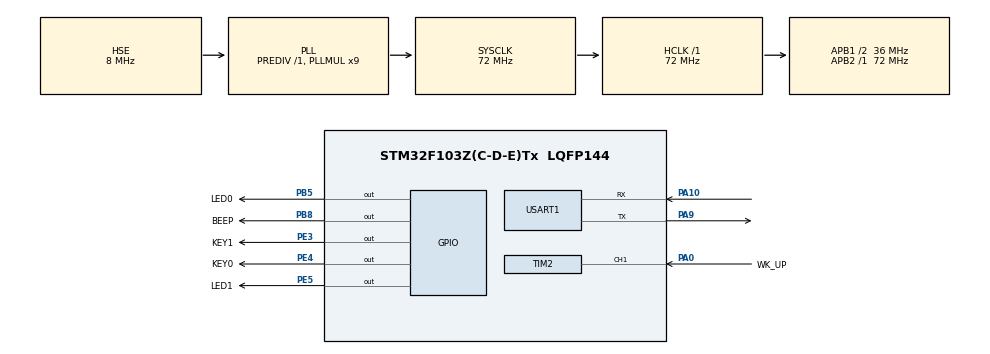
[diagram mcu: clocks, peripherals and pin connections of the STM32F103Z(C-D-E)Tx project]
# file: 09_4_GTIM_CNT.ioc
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Mcu.Family=STM32F1
Mcu.Name=STM32F103Z(C-D-E)Tx
Mcu.Package=LQFP144
NVIC.PriorityGroup=NVIC_PRIORITYGROUP_2
NVIC.TIM2_IRQn=true\:2\:1\:true\:false\:true\:true\:true\:true
NVIC.USART1_IRQn=true\:2\:2\:true\:false\:true\:true\:true\:true
OSC_IN.Mode=HSE-External-Oscillator
OSC_IN.Signal=RCC_OSC_IN
OSC_OUT.Mode=HSE-External-Oscillator
OSC_OUT.Signal=RCC_OSC_OUT
PA0-WKUP.GPIO_Label=WK_UP
PA0-WKUP.GPIO_PuPd=GPIO_PULLDOWN
PA0-WKUP.Signal=S_TIM2_CH1_ETR
PA10.Mode=Asynchronous
PA10.Signal=USART1_RX
PA13.Mode=Serial_Wire
PA13.Signal=SYS_JTMS-SWDIO
PA14.Mode=Serial_Wire
PA14.Signal=SYS_JTCK-SWCLK
PA9.Mode=Asynchronous
PA9.Signal=USART1_TX
PB5.GPIO_Label=LED0
PB5.GPIO_PuPd=GPIO_PULLUP
PB5.GPIO_Speed=GPIO_SPEED_FREQ_HIGH
PB5.PinState=GPIO_PIN_SET
PB5.Signal=GPIO_Output
PB8.GPIO_Label=BEEP
PB8.GPIO_ModeDefaultOutputPP=GPIO_MODE_OUTPUT_PP
PB8.GPIO_PuPd=GPIO_PULLDOWN
PB8.GPIO_Speed=GPIO_SPEED_FREQ_HIGH
PB8.PinState=GPIO_PIN_RESET
PB8.Signal=GPIO_Output
PC14-OSC32_IN.Mode=LSE-External-Oscillator
PC14-OSC32_IN.Signal=RCC_OSC32_IN
PC15-OSC32_OUT.Mode=LSE-External-Oscillator
PC15-OSC32_OUT.Signal=RCC_OSC32_OUT
PE3.GPIO_Label=KEY1
PE3.GPIO_PuPd=GPIO_PULLUP
PE3.GPIO_Speed=GPIO_SPEED_FREQ_HIGH
PE3.PinState=GPIO_PIN_SET
PE3.Signal=GPIO_Output
PE4.GPIO_Label=KEY0
PE4.GPIO_PuPd=GPIO_PULLUP
PE4.GPIO_Speed=GPIO_SPEED_FREQ_HIGH
PE4.PinState=GPIO_PIN_SET
PE4.Signal=GPIO_Output
PE5.GPIO_Label=LED1
PE5.GPIO_PuPd=GPIO_PULLUP
PE5.GPIO_Speed=GPIO_SPEED_FREQ_HIGH
PE5.PinState=GPIO_PIN_SET
PE5.Signal=GPIO_Output
ProjectManager.HeapSize=0x200
ProjectManager.StackSize=0x400
ProjectManager.TargetToolchain=STM32CubeIDE
RCC.AHBFreq_Value=72000000
RCC.APB1CLKDivider=RCC_HCLK_DIV2
RCC.APB1Freq_Value=36000000
RCC.APB1TimFreq_Value=72000000
RCC.APB2Freq_Value=72000000
RCC.APB2TimFreq_Value=72000000
RCC.HCLKFreq_Value=72000000
RCC.PLLMUL=RCC_PLL_MUL9
RCC.PLLSourceVirtual=RCC_PLLSOURCE_HSE
RCC.SYSCLKFreq_VALUE=72000000
RCC.SYSCLKSource=RCC_SYSCLKSOURCE_PLLCLK
RCC.USBFreq_Value=72000000
SH.S_TIM2_CH1_ETR.0=TIM2_CH1,TriggerSource_TI1FP1
TIM2.AutoReloadPreload=TIM_AUTORELOAD_PRELOAD_ENABLE
TIM2.Prescaler=0
USART1.VirtualMode=VM_ASYNC
VP_TIM2_VS_ControllerModeClock.Mode=Clock Mode
board=custom

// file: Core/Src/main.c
/* USER CODE BEGIN Header */

/* USER CODE END Header */
#include "main.h"
#include "tim.h"
#include "usart.h"
#include "gpio.h"

/* USER CODE BEGIN Includes */
#include "../../BSP/LED/led.h"
#include "../../BSP/KEY/key.h"
#include "../../SYSTEM/delay/delay.h"
/* USER CODE END Includes */

/* USER CODE BEGIN PTD */
extern uint8_t  g_timxchy_cap_sta;  /* 输入捕获状态 */
extern uint16_t g_timxchy_cap_val;  /* 输入捕获值 */
/* USER CODE END PTD */

void SystemClock_Config(void);

int main(void)
{
  /* USER CODE BEGIN 1 */
    uint32_t curcnt = 0;
    uint32_t oldcnt = 0;
    uint8_t key = 0;
    uint8_t t = 0;
  /* USER CODE END 1 */

  /* MCU Configuration--------------------------------------------------------*/

  /* Reset of all peripherals, Initializes the Flash interface and the Systick. */
  HAL_Init();

  /* Configure the system clock */
  SystemClock_Config();

  /* USER CODE BEGIN SysInit */
  delay_init(72);						   /* 初始化延时函数 */
  /* USER CODE END SysInit */

  /* Initialize all configured peripherals */
  MX_GPIO_Init();
  MX_USART1_UART_Init();
  MX_TIM2_Init();
  /* USER CODE BEGIN 2 */
  gtim_timx_cnt_chy_restart();                /* 重启计数 */
  /* USER CODE END 2 */

  /* Infinite loop */
  /* USER CODE BEGIN WHILE */
  while (1)
  {
	  key = key_scan(0);                      /* 扫描按键 */

	  if (key == KEY0_PRES)                   /* KEY0按键按下,重启计数 */
	  {
		  gtim_timx_cnt_chy_restart();        /* 重新启动计数 */
	  }

	  curcnt = gtim_timx_cnt_chy_get_count(); /* 获取计数值 */

	  if (oldcnt != curcnt)
	  {
		  oldcnt = curcnt;
		  printf("CNT:%lu\r\n", oldcnt);       /* 打印脉冲个数 */
	  }

	  t++;

	  if (t > 20)                             /* 200ms进入一次 */
	  {
		  t = 0;
		  LED0_TOGGLE();                      /* LED0闪烁 ,提示程序运行 */
	  }

	  delay_ms(10);

    /* USER CODE END WHILE */

  }
}

void SystemClock_Config(void)
{
  RCC_OscInitTypeDef RCC_OscInitStruct = {0};
  RCC_ClkInitTypeDef RCC_ClkInitStruct = {0};

  /** Initializes the RCC Oscillators according to the specified parameters
  * in the RCC_OscInitTypeDef structure.
  */
  RCC_OscInitStruct.OscillatorType = RCC_OSCILLATORTYPE_HSE;
  RCC_OscInitStruct.HSEState = RCC_HSE_ON;
  RCC_OscInitStruct.HSEPredivValue = RCC_HSE_PREDIV_DIV1;
  RCC_OscInitStruct.HSIState = RCC_HSI_ON;
  RCC_OscInitStruct.PLL.PLLState = RCC_PLL_ON;
  RCC_OscInitStruct.PLL.PLLSource = RCC_PLLSOURCE_HSE;
  RCC_OscInitStruct.PLL.PLLMUL = RCC_PLL_MUL9;
  if (HAL_RCC_OscConfig(&RCC_OscInitStruct) != HAL_OK)
  {
    Error_Handler();
  }

  /** Initializes the CPU, AHB and APB buses clocks
  */
  RCC_ClkInitStruct.ClockType = RCC_CLOCKTYPE_HCLK|RCC_CLOCKTYPE_SYSCLK
                              |RCC_CLOCKTYPE_PCLK1|RCC_CLOCKTYPE_PCLK2;
  RCC_ClkInitStruct.SYSCLKSource = RCC_SYSCLKSOURCE_PLLCLK;
  RCC_ClkInitStruct.AHBCLKDivider = RCC_SYSCLK_DIV1;
  RCC_ClkInitStruct.APB1CLKDivider = RCC_HCLK_DIV2;
  RCC_ClkInitStruct.APB2CLKDivider = RCC_HCLK_DIV1;

  if (HAL_RCC_ClockConfig(&RCC_ClkInitStruct, FLASH_LATENCY_2) != HAL_OK)
  {
    Error_Handler();
  }
}

void Error_Handler(void)
{
  __disable_irq();
  while (1)
  {
  }
}
